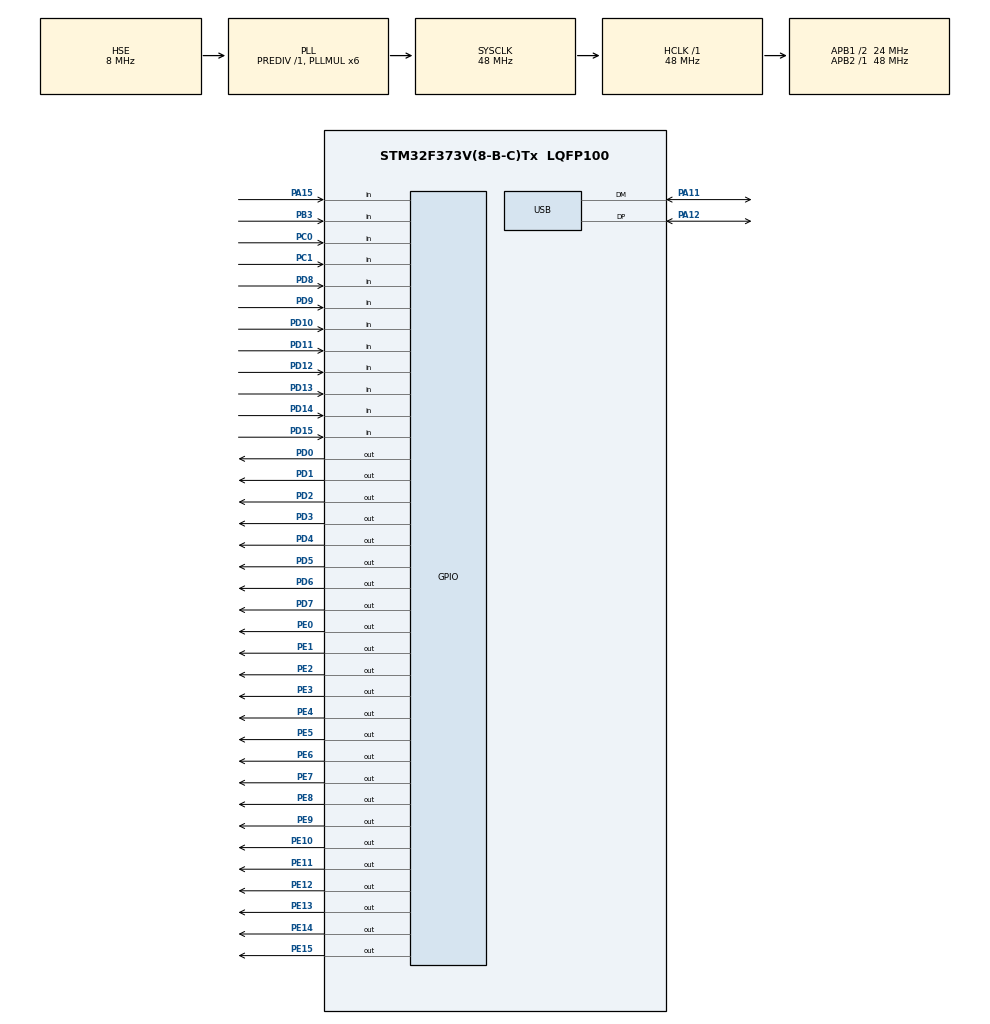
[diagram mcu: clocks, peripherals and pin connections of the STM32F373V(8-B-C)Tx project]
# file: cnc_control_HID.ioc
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Mcu.Family=STM32F3
Mcu.Name=STM32F373V(8-B-C)Tx
Mcu.Package=LQFP100
NVIC.PriorityGroup=NVIC_PRIORITYGROUP_4
NVIC.USB_LP_IRQn=true\:0\:0\:false\:false\:true\:false\:true
PA11.Mode=Device
PA11.Signal=USB_DM
PA12.Mode=Device
PA12.Signal=USB_DP
PA15.Signal=GPIO_Input
PB3.Signal=GPIO_Input
PC0.Signal=GPIO_Input
PC1.Signal=GPIO_Input
PD0.GPIO_ModeDefaultOutputPP=GPIO_MODE_OUTPUT_OD
PD0.Signal=GPIO_Output
PD1.GPIO_ModeDefaultOutputPP=GPIO_MODE_OUTPUT_OD
PD1.GPIO_PuPd=GPIO_NOPULL
PD1.Signal=GPIO_Output
PD10.GPIO_Mode=GPIO_MODE_INPUT
PD10.GPIO_PuPd=GPIO_PULLUP
PD10.Signal=GPIO_Input
PD11.GPIO_Mode=GPIO_MODE_INPUT
PD11.GPIO_PuPd=GPIO_PULLUP
PD11.Signal=GPIO_Input
PD12.GPIO_Mode=GPIO_MODE_INPUT
PD12.GPIO_PuPd=GPIO_PULLUP
PD12.Signal=GPIO_Input
PD13.GPIO_Mode=GPIO_MODE_INPUT
PD13.GPIO_PuPd=GPIO_PULLUP
PD13.Signal=GPIO_Input
PD14.GPIO_Mode=GPIO_MODE_INPUT
PD14.GPIO_PuPd=GPIO_PULLUP
PD14.Signal=GPIO_Input
PD15.GPIO_Mode=GPIO_MODE_INPUT
PD15.GPIO_PuPd=GPIO_PULLUP
PD15.Signal=GPIO_Input
PD2.GPIO_ModeDefaultOutputPP=GPIO_MODE_OUTPUT_OD
PD2.Signal=GPIO_Output
PD3.GPIO_ModeDefaultOutputPP=GPIO_MODE_OUTPUT_OD
PD3.GPIO_Speed=GPIO_SPEED_FREQ_LOW
PD3.PinState=GPIO_PIN_RESET
PD3.Signal=GPIO_Output
PD4.GPIO_ModeDefaultOutputPP=GPIO_MODE_OUTPUT_OD
PD4.GPIO_Speed=GPIO_SPEED_FREQ_LOW
PD4.PinState=GPIO_PIN_RESET
PD4.Signal=GPIO_Output
PD5.GPIO_ModeDefaultOutputPP=GPIO_MODE_OUTPUT_OD
PD5.GPIO_Speed=GPIO_SPEED_FREQ_LOW
PD5.PinState=GPIO_PIN_RESET
PD5.Signal=GPIO_Output
PD6.GPIO_ModeDefaultOutputPP=GPIO_MODE_OUTPUT_OD
PD6.GPIO_Speed=GPIO_SPEED_FREQ_LOW
PD6.PinState=GPIO_PIN_RESET
PD6.Signal=GPIO_Output
PD7.GPIO_ModeDefaultOutputPP=GPIO_MODE_OUTPUT_OD
PD7.GPIO_Speed=GPIO_SPEED_FREQ_LOW
PD7.PinState=GPIO_PIN_RESET
PD7.Signal=GPIO_Output
PD8.GPIO_Mode=GPIO_MODE_INPUT
PD8.GPIO_PuPd=GPIO_PULLUP
PD8.Signal=GPIO_Input
PD9.GPIO_Mode=GPIO_MODE_INPUT
PD9.GPIO_PuPd=GPIO_PULLUP
PD9.Signal=GPIO_Input
PE0.Signal=GPIO_Output
PE1.Signal=GPIO_Output
PE10.Signal=GPIO_Output
PE11.Signal=GPIO_Output
PE12.Signal=GPIO_Output
PE13.Signal=GPIO_Output
PE14.Signal=GPIO_Output
PE15.Signal=GPIO_Output
PE2.Signal=GPIO_Output
PE3.Signal=GPIO_Output
PE4.Signal=GPIO_Output
PE5.Signal=GPIO_Output
PE6.Signal=GPIO_Output
PE7.Signal=GPIO_Output
PE8.Signal=GPIO_Output
PE9.Signal=GPIO_Output
PF0-OSC_IN.Mode=HSE-External-Oscillator
PF0-OSC_IN.Signal=RCC_OSC_IN
PF1-OSC_OUT.Mode=HSE-External-Oscillator
PF1-OSC_OUT.Signal=RCC_OSC_OUT
ProjectManager.HeapSize=0x200
ProjectManager.StackSize=0x400
ProjectManager.TargetToolchain=STM32CubeIDE
RCC.AHBFreq_Value=48000000
RCC.APB1CLKDivider=RCC_HCLK_DIV2
RCC.APB1Freq_Value=24000000
RCC.APB1TimFreq_Value=48000000
RCC.APB2Freq_Value=48000000
RCC.APB2TimFreq_Value=48000000
RCC.CortexFreq_Value=48000000
RCC.HCLKFreq_Value=48000000
RCC.HSE_VALUE=8000000
RCC.HSI_VALUE=8000000
RCC.LSE_VALUE=32768
RCC.PLLMUL=RCC_PLL_MUL6
RCC.SYSCLKFreq_VALUE=48000000
RCC.SYSCLKSource=RCC_SYSCLKSOURCE_PLLCLK
RCC.USBFreq_Value=48000000
USB_DEVICE.CLASS_NAME_FS=CUSTOM_HID
USB_DEVICE.USBD_CUSTOMHID_OUTREPORT_BUF_SIZE=64
USB_DEVICE.USBD_CUSTOM_HID_REPORT_DESC_SIZE=29
USB_DEVICE.VirtualMode=CustomHid
USB_DEVICE.VirtualModeFS=Custom_Hid_FS
VP_USB_DEVICE_VS_USB_DEVICE_CUSTOM_HID_FS.Mode=CUSTOM_HID_FS
board=custom

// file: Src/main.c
/* USER CODE BEGIN Header */
/**
  ******************************************************************************
  * @file           : main.c
  * @brief          : Main program body
  ******************************************************************************
  * @attention
  *
  * <h2><center>&copy; Copyright (c) 2020 STMicroelectronics.
  * All rights reserved.</center></h2>
  *
  * This software component is licensed by ST under BSD 3-Clause license,
  * the "License"; You may not use this file except in compliance with the
  * License. You may obtain a copy of the License at:
  *                        opensource.org/licenses/BSD-3-Clause
  *
  ******************************************************************************
  */
/* USER CODE END Header */

#include "main.h"
#include "usb_device.h"

/* USER CODE BEGIN Includes */
#include "timer.h"
#include "usbd_custom_hid_if.h"
#include "matrix_keyboard.h"
#include "encoder.h"
/* USER CODE END Includes */

/* USER CODE BEGIN PD */
#define REPORT1_LEN (MATRIX_KEYBOARD_KEY_BUFFER_SIZE+ENCODER_CHANNELS*2+1)
#define REPORT1_KEYBOARD_DATA_START 1
#define REPORT1_ENCODER_DATA_START (MATRIX_KEYBOARD_KEY_BUFFER_SIZE+1)
/* USER CODE END PD */

/* USER CODE BEGIN PV */
//uint8_t report_buf[CUSTOM_HID_EPIN_SIZE];
uint8_t report_buf[REPORT1_LEN];

/* USER CODE END PV */

void SystemClock_Config(void);
static void MX_GPIO_Init(void);

int main(void)
{
  /* USER CODE BEGIN 1 */
  struct tick_timer periodic_timer;
  struct timer report_timer;
  //uint32_t  *test_data;
  /* USER CODE END 1 */

  /* MCU Configuration--------------------------------------------------------*/

  /* Reset of all peripherals, Initializes the Flash interface and the Systick. */
  HAL_Init();

  /* Configure the system clock */
  SystemClock_Config();

  /* Initialize all configured peripherals */
  MX_GPIO_Init();
  MX_USB_DEVICE_Init();
  /* USER CODE BEGIN 2 */
  report_buf[0] = 1; //Report id
  MATRIX_KEYBOARD_Init( &report_buf[REPORT1_KEYBOARD_DATA_START] );
  ENCODER_Init( (uint16_t *)&report_buf[REPORT1_ENCODER_DATA_START] );
  //test_data = (uint32_t*)&report_buf[REPORT1_ENCODER_DATA_START];
  tick_timer_set( &periodic_timer, 0.05 * HCLK_FREQUENCY);//500ms
  timer_set( &report_timer, 10);
  /* USER CODE END 2 */

  /* Infinite loop */
  while (1)
  {

    /* USER CODE BEGIN 3 */
	  //test_data[0]++;
	  if( tick_timer_expired(&periodic_timer))
	  {
		  //HAL_GPIO_TogglePin(GPIOE, GPIO_PIN_0);
		  tick_timer_restart(&periodic_timer);
	  }
	  if( timer_expired(&report_timer))
	 	  {
		  	USBD_CUSTOM_HID_SendReport_FS(report_buf, REPORT1_LEN);
		  	HAL_GPIO_WritePin(GPIOE, *(uint16_t*)OutReportData, GPIO_PIN_SET);
		  	HAL_GPIO_WritePin(GPIOE, ~*(uint16_t*)OutReportData, GPIO_PIN_RESET);
	 		timer_restart(&report_timer);
	 	  }
	  MATRIX_KEYBOARD_Scan();
	  ENCODER_Capture();
	 // USBD_CUSTOM_HID_EP0_RxReady(&hUsbDeviceFS);
  }
  /* USER CODE END 3 */
}

void SystemClock_Config(void)
{
  RCC_OscInitTypeDef RCC_OscInitStruct = {0};
  RCC_ClkInitTypeDef RCC_ClkInitStruct = {0};
  RCC_PeriphCLKInitTypeDef PeriphClkInit = {0};

  /** Initializes the CPU, AHB and APB busses clocks
  */
  RCC_OscInitStruct.OscillatorType = RCC_OSCILLATORTYPE_HSE;
  RCC_OscInitStruct.HSEState = RCC_HSE_ON;
  RCC_OscInitStruct.HSEPredivValue = RCC_HSE_PREDIV_DIV1;
  RCC_OscInitStruct.HSIState = RCC_HSI_ON;
  RCC_OscInitStruct.PLL.PLLState = RCC_PLL_ON;
  RCC_OscInitStruct.PLL.PLLSource = RCC_PLLSOURCE_HSE;
  RCC_OscInitStruct.PLL.PLLMUL = RCC_PLL_MUL6;
  if (HAL_RCC_OscConfig(&RCC_OscInitStruct) != HAL_OK)
  {
    Error_Handler();
  }
  /** Initializes the CPU, AHB and APB busses clocks
  */
  RCC_ClkInitStruct.ClockType = RCC_CLOCKTYPE_HCLK|RCC_CLOCKTYPE_SYSCLK
                              |RCC_CLOCKTYPE_PCLK1|RCC_CLOCKTYPE_PCLK2;
  RCC_ClkInitStruct.SYSCLKSource = RCC_SYSCLKSOURCE_PLLCLK;
  RCC_ClkInitStruct.AHBCLKDivider = RCC_SYSCLK_DIV1;
  RCC_ClkInitStruct.APB1CLKDivider = RCC_HCLK_DIV2;
  RCC_ClkInitStruct.APB2CLKDivider = RCC_HCLK_DIV1;

  if (HAL_RCC_ClockConfig(&RCC_ClkInitStruct, FLASH_LATENCY_1) != HAL_OK)
  {
    Error_Handler();
  }
  PeriphClkInit.PeriphClockSelection = RCC_PERIPHCLK_USB;
  PeriphClkInit.USBClockSelection = RCC_USBCLKSOURCE_PLL;
  if (HAL_RCCEx_PeriphCLKConfig(&PeriphClkInit) != HAL_OK)
  {
    Error_Handler();
  }
}

static void MX_GPIO_Init(void)
{
  GPIO_InitTypeDef GPIO_InitStruct = {0};

  /* GPIO Ports Clock Enable */
  __HAL_RCC_GPIOE_CLK_ENABLE();
  __HAL_RCC_GPIOF_CLK_ENABLE();
  __HAL_RCC_GPIOC_CLK_ENABLE();
  __HAL_RCC_GPIOD_CLK_ENABLE();
  __HAL_RCC_GPIOA_CLK_ENABLE();
  __HAL_RCC_GPIOB_CLK_ENABLE();

  /*Configure GPIO pin Output Level */
  HAL_GPIO_WritePin(GPIOE, GPIO_PIN_2|GPIO_PIN_3|GPIO_PIN_4|GPIO_PIN_5
                          |GPIO_PIN_6|GPIO_PIN_7|GPIO_PIN_8|GPIO_PIN_9
                          |GPIO_PIN_10|GPIO_PIN_11|GPIO_PIN_12|GPIO_PIN_13
                          |GPIO_PIN_14|GPIO_PIN_15|GPIO_PIN_0|GPIO_PIN_1, GPIO_PIN_RESET);

  /*Configure GPIO pin Output Level */
  HAL_GPIO_WritePin(GPIOD, GPIO_PIN_0|GPIO_PIN_1|GPIO_PIN_2|GPIO_PIN_3
                          |GPIO_PIN_4|GPIO_PIN_5|GPIO_PIN_6|GPIO_PIN_7, GPIO_PIN_RESET);

  /*Configure GPIO pins : PE2 PE3 PE4 PE5
                           PE6 PE7 PE8 PE9
                           PE10 PE11 PE12 PE13
                           PE14 PE15 PE0 PE1 */
  GPIO_InitStruct.Pin = GPIO_PIN_2|GPIO_PIN_3|GPIO_PIN_4|GPIO_PIN_5
                          |GPIO_PIN_6|GPIO_PIN_7|GPIO_PIN_8|GPIO_PIN_9
                          |GPIO_PIN_10|GPIO_PIN_11|GPIO_PIN_12|GPIO_PIN_13
                          |GPIO_PIN_14|GPIO_PIN_15|GPIO_PIN_0|GPIO_PIN_1;
  GPIO_InitStruct.Mode = GPIO_MODE_OUTPUT_PP;
  GPIO_InitStruct.Pull = GPIO_NOPULL;
  GPIO_InitStruct.Speed = GPIO_SPEED_FREQ_LOW;
  HAL_GPIO_Init(GPIOE, &GPIO_InitStruct);

  /*Configure GPIO pins : PC0 PC1 */
  GPIO_InitStruct.Pin = GPIO_PIN_0|GPIO_PIN_1;
  GPIO_InitStruct.Mode = GPIO_MODE_INPUT;
  GPIO_InitStruct.Pull = GPIO_NOPULL;
  HAL_GPIO_Init(GPIOC, &GPIO_InitStruct);

  /*Configure GPIO pins : PD8 PD9 PD10 PD11
                           PD12 PD13 PD14 PD15 */
  GPIO_InitStruct.Pin = GPIO_PIN_8|GPIO_PIN_9|GPIO_PIN_10|GPIO_PIN_11
                          |GPIO_PIN_12|GPIO_PIN_13|GPIO_PIN_14|GPIO_PIN_15;
  GPIO_InitStruct.Mode = GPIO_MODE_INPUT;
  GPIO_InitStruct.Pull = GPIO_PULLUP;
  HAL_GPIO_Init(GPIOD, &GPIO_InitStruct);

  /*Configure GPIO pin : PA15 */
  GPIO_InitStruct.Pin = GPIO_PIN_15;
  GPIO_InitStruct.Mode = GPIO_MODE_INPUT;
  GPIO_InitStruct.Pull = GPIO_NOPULL;
  HAL_GPIO_Init(GPIOA, &GPIO_InitStruct);

  /*Configure GPIO pins : PD0 PD1 PD2 PD3
                           PD4 PD5 PD6 PD7 */
  GPIO_InitStruct.Pin = GPIO_PIN_0|GPIO_PIN_1|GPIO_PIN_2|GPIO_PIN_3
                          |GPIO_PIN_4|GPIO_PIN_5|GPIO_PIN_6|GPIO_PIN_7;
  GPIO_InitStruct.Mode = GPIO_MODE_OUTPUT_OD;
  GPIO_InitStruct.Pull = GPIO_NOPULL;
  GPIO_InitStruct.Speed = GPIO_SPEED_FREQ_LOW;
  HAL_GPIO_Init(GPIOD, &GPIO_InitStruct);

  /*Configure GPIO pin : PB3 */
  GPIO_InitStruct.Pin = GPIO_PIN_3;
  GPIO_InitStruct.Mode = GPIO_MODE_INPUT;
  GPIO_InitStruct.Pull = GPIO_NOPULL;
  HAL_GPIO_Init(GPIOB, &GPIO_InitStruct);

}

void Error_Handler(void)
{
}

/************************ (C) COPYRIGHT STMicroelectronics *****END OF FILE****/
